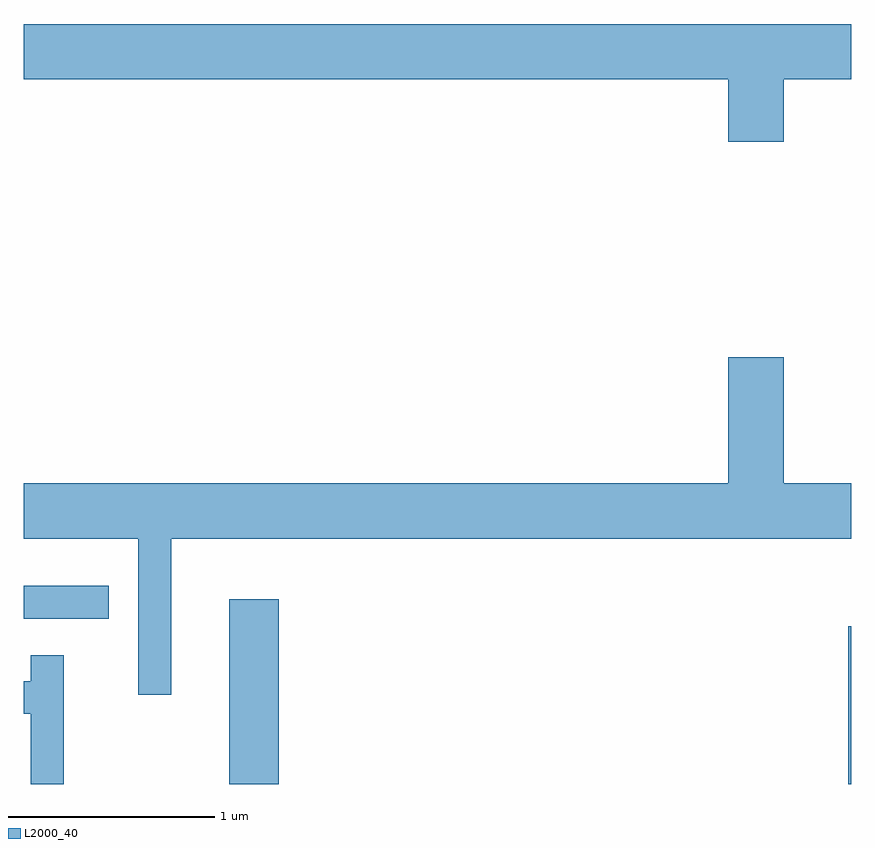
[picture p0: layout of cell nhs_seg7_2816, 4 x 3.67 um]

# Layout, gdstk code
import gdstk
lib = gdstk.Library(unit=1e-6, precision=1e-09)
def R(c, l, rs):  # rectangles x0, y0, x1, y1
    for r in rs: c.add(gdstk.rectangle(r[:2], r[2:], *l))
def P(c, l, *ps):  # polygons
    for p in ps: c.add(gdstk.Polygon(p, *l))
L2000_40 = (2000, 40)

nhs_seg7_2816 = lib.new_cell('nhs_seg7_2816')
R(nhs_seg7_2816, L2000_40, [(272.606,1704.252,272.844,1705.144), (275.596,1704.252,275.611,1705.014), (271.611,1705.051,272.023,1705.209)])
P(nhs_seg7_2816, L2000_40, [(275.284,1707.656),(275.611,1707.656),(275.611,1707.924),(271.611,1707.924),(271.611,1707.656),(275.016,1707.656),(275.016,1707.356),(275.284,1707.356)],
  [(272.324,1705.436),(275.611,1705.436),(275.611,1705.704),(275.284,1705.704),(275.284,1706.314),(275.016,1706.314),(275.016,1705.704),(271.611,1705.704),(271.611,1705.436),(272.166,1705.436),(272.166,1704.683),(272.324,1704.683)],
  [(271.804,1704.873),(271.646,1704.873),(271.646,1704.749),(271.611,1704.749),(271.611,1704.591),(271.646,1704.591),(271.646,1704.252),(271.804,1704.252)])

lib.write_gds('nhs_seg7_2816.gds')
